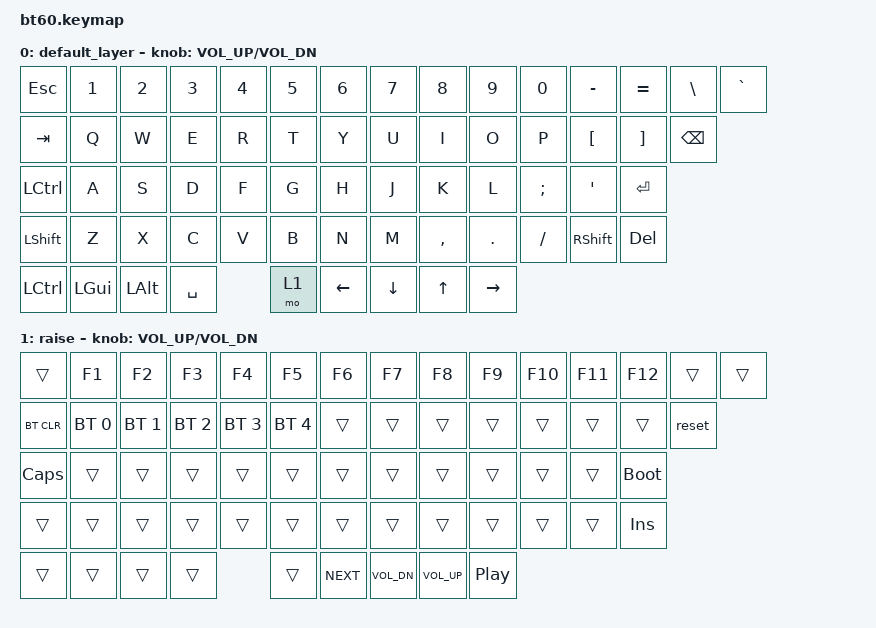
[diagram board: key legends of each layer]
#include <behaviors.dtsi>
#include <dt-bindings/zmk/keys.h>
#include <dt-bindings/zmk/bt.h>

/ {
	keymap {
		compatible = "zmk,keymap";

		default_layer {
				// ------------------------------------------------------------------------------------------
				// | ESC |  1  |  2  |  3  |  4  |  5  |  6  |  7  |  8  |  9  |  0  |  -  |  =  |  \  | `  |
				// | TAB  |  Q  |  W  |  E  |  R  |  T  |  Y  |  U  |  I  |  O  |  P  |  [  |  ]  |  BSPC   |
				// | CTRL  |  A  |  S  |  D  |  F  |  G  |  H  |  J  |  K  |  L  |  ;  |  '  |      ENTER   |
				// |  SHIFT    |  Z  |  X  |  C  |  V  |  B  |  N  |  M  |  ,  |  .  | /   | SHIFT |   1    |
				// |  CTL  |  WIN  |  ALT  |            SPACE               | 1| left  |  up |  down | right|
				// ------------------------------------------------------------------------------------------
			bindings = <
				&kp ESC       &kp N1          &kp N2          &kp N3        &kp N4    &kp N5    &kp N6    &kp N7    &kp  N8      &kp  N9     &kp  N0       &kp MINUS     &kp EQUAL          &kp BSLH    &kp GRAVE
				&kp TAB       &kp Q           &kp W           &kp E         &kp R     &kp T     &kp Y     &kp U     &kp  I       &kp  O      &kp  P        &kp LBKT      &kp RBKT           &kp BSPC
				&kp LCTRL     &kp A           &kp S           &kp D         &kp F     &kp G     &kp H     &kp J     &kp  K       &kp  L      &kp SEMI      &kp SQT       &kp RET
				&kp LSHFT     &kp Z           &kp X           &kp C         &kp V     &kp B     &kp N     &kp M     &kp COMMA    &kp DOT     &kp FSLH      &kp RSHFT     &kp DEL
				&kp LCTRL &kp LGUI &kp LALT            &kp SPACE                          &mo 1  &kp LEFT &kp DOWN &kp UP &kp RIGHT
			>;
			sensor-bindings = <&inc_dec_kp C_VOL_UP C_VOL_DN>;
		};
		raise {
			bindings = <
				&trans        &kp F1          &kp F2          &kp F3        &kp F4    &kp F5    &kp F6    &kp F7    &kp F8       &kp F9      &kp F10       &kp F11       &kp F12            &trans      &trans
				&bt BT_CLR        &bt BT_SEL 0      &bt BT_SEL 1      &bt BT_SEL 2    &bt BT_SEL 3    &bt BT_SEL 4    &trans    &trans    &trans       &trans      &trans        &trans        &trans             &reset
				&kp CLCK      &trans          &trans          &trans        &trans    &trans    &trans    &trans    &trans       &trans      &trans        &trans        &bootloader
				&trans        &trans          &trans          &trans        &trans    &trans    &trans    &trans    &trans       &trans      &trans        &trans        &kp INS
				&trans &trans  &trans              &trans                            &trans   &kp C_NEXT  &kp C_VOL_DN &kp C_VOL_UP &kp C_PLAY_PAUSE
			>;
			sensor-bindings = <&inc_dec_kp C_VOL_UP C_VOL_DN>;
		};
	};
};
